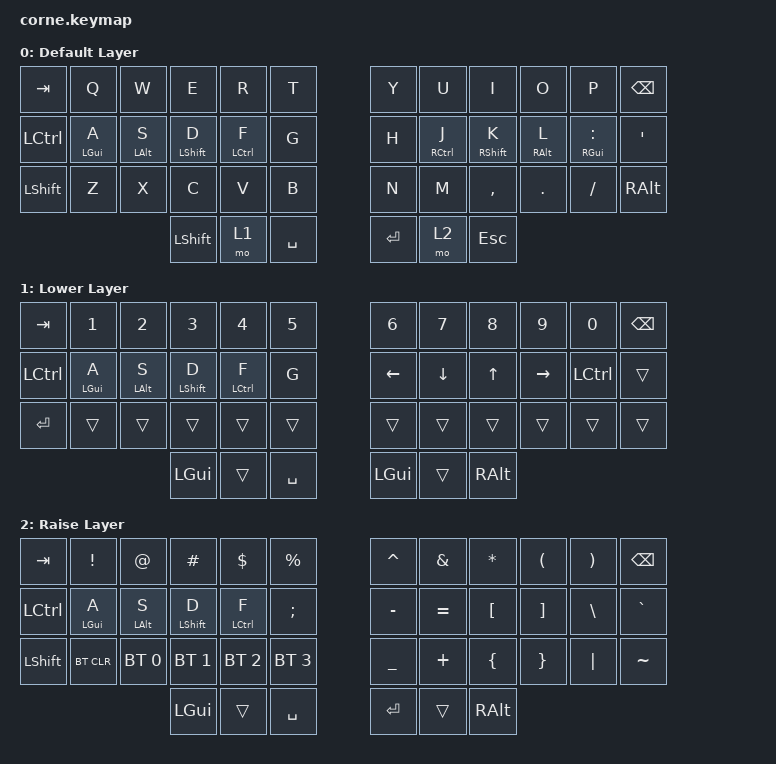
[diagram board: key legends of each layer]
/*
 * Copyright (c) 2020 The ZMK Contributors
 *
 * SPDX-License-Identifier: MIT
 */

#include <behaviors.dtsi>
#include <dt-bindings/zmk/keys.h>
#include <dt-bindings/zmk/bt.h>

/ {
        behaviors {
                hml: homerow_mods_left {
                        compatible = "zmk,behavior-hold-tap";
                        #binding-cells = <2>;
                        flavor = "balanced";
                        tapping-term-ms = <200>;
                        quick-tap-ms = <175>;
                        require-prior-idle-ms = <100>;
                        bindings = <&kp>, <&kp>;
                        hold-trigger-key-positions = <6 7 8 9 10 11 18 19 20 21 22 23 30 31 32 33 34 35 36 37 38 39 40 41>;
                        hold-trigger-on-release;
                };

                hmr: homerow_mods_right {
                        compatible = "zmk,behavior-hold-tap";
                        #binding-cells = <2>;
                        flavor = "balanced";
                        tapping-term-ms = <200>;
                        quick-tap-ms = <175>;
                        require-prior-idle-ms = <100>;
                        bindings = <&kp>, <&kp>;
                        hold-trigger-key-positions = <0 1 2 3 4 5 12 13 14 15 16 17 24 25 26 27 28 29 36 37 38 39 40 41>;
                        hold-trigger-on-release;
                };
        };

        keymap {
                compatible = "zmk,keymap";

                default_layer {
                        display-name = "Default Layer";
// -----------------------------------------------------------------------------------------
// |  TAB |  Q  |  W  |  E  |  R  |  T  |   |  Y  |  U   |  I  |  O  |  P  | BSPC |
// | CTRL |  A  |  S  |  D  |  F  |  G  |   |  H  |  J   |  K  |  L  |  ;  |  '   |
// | SHFT |  Z  |  X  |  C  |  V  |  B  |   |  N  |  M   |  ,  |  .  |  /  | ESC  |
//                    | GUI | LWR | SPC |   | ENT | RSE  | ALT |
// Homerow mods: GUI/A, ALT/S, SHFT/D, CTRL/F (left) | CTRL/J, SHFT/K, ALT/L, GUI/; (right)
                        bindings = <
   &kp TAB   &kp Q       &kp W       &kp E        &kp R        &kp T      &kp Y &kp U        &kp I        &kp O       &kp P          &kp BSPC
   &kp LCTRL &hml LGUI A &hml LALT S &hml LSHFT D &hml LCTRL F &kp G      &kp H &hmr RCTRL J &hmr RSHFT K &hmr RALT L &hmr RGUI COLON &kp SQT
   &kp LSHFT &kp Z       &kp X       &kp C        &kp V        &kp B      &kp N &kp M        &kp COMMA    &kp DOT     &kp FSLH       &kp RALT
                  &kp LSHFT &mo 1 &kp SPACE   &kp RET &mo 2 &kp ESC
                        >;
                };
                lower_layer {
                        display-name = "Lower Layer";
// -----------------------------------------------------------------------------------------
// |  TAB |  1  |  2  |  3  |  4  |  5  |   |  6  |  7  |  8  |  9  |  0  | BSPC |
// | CTRL |  A  |  S  |  D  |  F  |  G  |   | LFT | DWN |  UP | RGT | CTRL |      |
// | RET  |     |     |     |     |     |   |     |     |     |     |     |      |
//                    | GUI |     | SPC |   | GUI |     | ALT |
// Homerow mods: GUI/A, ALT/S, SHFT/D, CTRL/F (left) on lower layer too
                        bindings = <
   &kp TAB    &kp N1      &kp N2      &kp N3       &kp N4       &kp N5      &kp N6   &kp N7   &kp N8 &kp N9    &kp N0     &kp BSPC
   &kp LCTRL  &hml LGUI A &hml LALT S &hml LSHFT D &hml LCTRL F &kp G       &kp LEFT &kp DOWN &kp UP &kp RIGHT &kp LCTRL  &trans
   &kp RET    &trans      &trans      &trans       &trans       &trans      &trans   &trans   &trans &trans    &trans     &trans
                                    &kp LGUI     &trans       &kp SPACE      &kp LGUI &trans   &kp RALT
                        >;
                };

                raise_layer {
                        display-name = "Raise Layer";
// -----------------------------------------------------------------------------------------
// |  TAB |  !  |  @  |  #  |  $  |  %  |   |  ^  |  &  |  *  |  (  |  )  | BSPC |
// | CTRL |  A  |  S  |  D  |  F  |  ;  |   |  -  |  =  |  [  |  ]  |  \  |  `   |
// | SHFT | BTCLR| BT0 | BT1 | BT2 | BT3 |   |  _  |  +  |  {  |  }  | "|" |  ~   |
//                    | GUI |     | SPC |   | ENT |     | ALT |
// BT: BTCLR = Clear current profile, BT0-BT3 = Select profiles 0-3
// Homerow mods: GUI/A, ALT/S, SHFT/D, CTRL/F (left) on raise layer too
                        bindings = <
   &kp  TAB  &kp EXCL    &kp AT      &kp HASH     &kp DLLR     &kp PRCNT      &kp CARET &kp AMPS  &kp ASTRK &kp LPAR &kp RPAR &kp BSPC
   &kp LCTRL &hml LGUI A &hml LALT S &hml LSHFT D &hml LCTRL F &kp SEMI       &kp MINUS &kp EQUAL &kp LBKT  &kp RBKT &kp BSLH &kp GRAVE
   &kp LSHFT &bt BT_CLR  &bt BT_SEL 0 &bt BT_SEL 1 &bt BT_SEL 2 &bt BT_SEL 3  &kp UNDER &kp PLUS  &kp LBRC  &kp RBRC &kp PIPE &kp TILDE
                             &kp LGUI &trans   &kp SPACE   &kp RET   &trans    &kp RALT
                        >;
                };
        };
};
